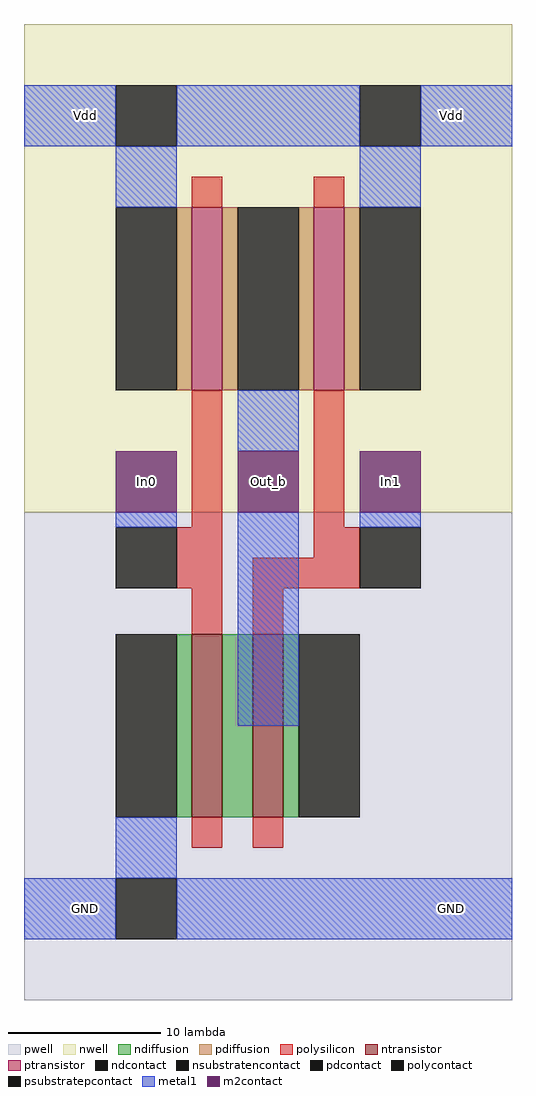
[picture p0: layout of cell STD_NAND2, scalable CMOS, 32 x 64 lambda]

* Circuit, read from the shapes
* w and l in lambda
.subckt STD_NAND2 GND In0 In1 Out_b Vdd
M1 n1 In0 GND GND nfet w=12 l=2
M2 Out_b In1 n1 GND nfet w=12 l=2
M3 Out_b In0 Vdd Vdd pfet w=12 l=2
M4 Vdd In1 Out_b Vdd pfet w=12 l=2
.ends

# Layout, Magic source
magic
tech scmos
<< pwell >>
rect 0 0 32 32
<< nwell >>
rect 0 32 32 64
<< polysilicon >>
rect 11 52 13 54
rect 19 52 21 54
rect 11 31 13 40
rect 10 27 13 31
rect 19 31 21 40
rect 19 29 22 31
rect 11 24 13 27
rect 15 27 22 29
rect 15 24 17 27
rect 11 10 13 12
rect 15 10 17 12
<< ndiffusion >>
rect 10 12 11 24
rect 13 12 15 24
rect 17 12 18 24
<< pdiffusion >>
rect 10 40 11 52
rect 13 40 14 52
rect 18 40 19 52
rect 21 40 22 52
<< metal1 >>
rect 0 56 6 60
rect 10 56 22 60
rect 26 56 32 60
rect 6 52 10 56
rect 22 52 26 56
rect 14 36 18 40
rect 6 31 10 32
rect 14 18 18 32
rect 22 31 26 32
rect 6 8 10 12
rect 0 4 6 8
rect 10 4 32 8
<< ntransistor >>
rect 11 12 13 24
rect 15 12 17 24
<< ptransistor >>
rect 11 40 13 52
rect 19 40 21 52
<< polycontact >>
rect 6 27 10 31
rect 22 27 26 31
<< ndcontact >>
rect 6 12 10 24
rect 18 12 22 24
<< pdcontact >>
rect 6 40 10 52
rect 14 40 18 52
rect 22 40 26 52
<< m2contact >>
rect 6 32 10 36
rect 14 32 18 36
rect 22 32 26 36
<< psubstratepcontact >>
rect 6 4 10 8
<< nsubstratencontact >>
rect 6 56 10 60
rect 22 56 26 60
<< labels >>
rlabel m2contact 8 34 8 34 6 In0
rlabel m2contact 24 34 24 34 6 In1
rlabel m2contact 16 34 16 34 6 Out_b
rlabel metal1 4 6 4 6 6 GND
rlabel metal1 28 6 28 6 6 GND
rlabel metal1 4 58 4 58 6 Vdd
rlabel metal1 28 58 28 58 6 Vdd
<< end >>
